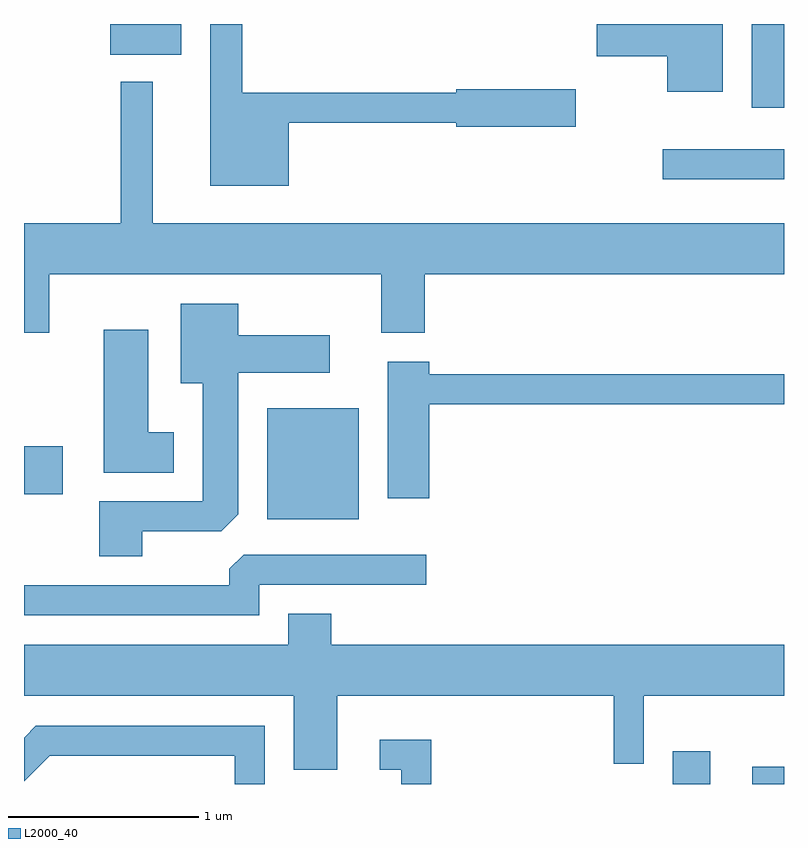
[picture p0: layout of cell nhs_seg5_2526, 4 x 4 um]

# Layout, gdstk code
import gdstk
lib = gdstk.Library(unit=1e-6, precision=1e-09)
def R(c, l, rs):  # rectangles x0, y0, x1, y1
    for r in rs: c.add(gdstk.rectangle(r[:2], r[2:], *l))
def P(c, l, *ps):  # polygons
    for p in ps: c.add(gdstk.Polygon(p, *l))
L2000_40 = (2000, 40)

nhs_seg5_2526 = lib.new_cell('nhs_seg5_2526')
R(nhs_seg5_2526, L2000_40, [(263.026,1494.072,263.224,1494.244), (263.443,1494.072,263.611,1494.164), (260.891,1495.466,261.374,1496.049), (259.611,1495.596,259.814,1495.849), (262.973,1497.256,263.611,1497.414), (263.441,1497.631,263.611,1498.072), (260.066,1497.911,260.439,1498.072)])
P(nhs_seg5_2526, L2000_40, [(263.289,1498.072),(262.626,1498.072),(262.626,1497.901),(262.996,1497.901),(262.996,1497.716),(263.289,1497.716)],
  [(261.004,1497.551),(261.886,1497.551),(261.886,1497.531),(262.514,1497.531),(262.514,1497.729),(261.886,1497.729),(261.886,1497.709),(260.759,1497.709),(260.759,1498.072),(260.591,1498.072),(260.591,1497.221),(261.004,1497.221)],
  [(259.744,1496.756),(261.491,1496.756),(261.491,1496.446),(261.719,1496.446),(261.719,1496.756),(263.611,1496.756),(263.611,1497.024),(260.289,1497.024),(260.289,1497.768),(260.121,1497.768),(260.121,1497.024),(259.611,1497.024),(259.611,1496.446),(259.744,1496.446)],
  [(260.234,1495.401),(260.649,1495.401),(260.739,1495.492),(260.739,1496.236),(261.219,1496.236),(261.219,1496.434),(260.739,1496.434),(260.739,1496.599),(260.436,1496.599),(260.436,1496.181),(260.551,1496.181),(260.551,1495.559),(260.006,1495.559),(260.006,1495.271),(260.234,1495.271)],
  [(260.399,1495.924),(260.264,1495.924),(260.264,1496.464),(260.031,1496.464),(260.031,1495.711),(260.399,1495.711)],
  [(261.744,1496.071),(263.611,1496.071),(263.611,1496.229),(261.744,1496.229),(261.744,1496.294),(261.526,1496.294),(261.526,1495.576),(261.744,1495.576)],
  [(260.849,1495.121),(261.728,1495.121),(261.728,1495.279),(260.767,1495.279),(260.691,1495.204),(260.691,1495.119),(259.611,1495.119),(259.611,1494.961),(260.849,1494.961)],
  [(261.259,1494.536),(262.716,1494.536),(262.716,1494.178),(262.874,1494.178),(262.874,1494.536),(263.611,1494.536),(263.611,1494.804),(261.229,1494.804),(261.229,1494.969),(261.001,1494.969),(261.001,1494.804),(259.611,1494.804),(259.611,1494.536),(261.031,1494.536),(261.031,1494.146),(261.259,1494.146)],
  [(260.879,1494.379),(259.674,1494.379),(259.611,1494.316),(259.611,1494.086),(259.747,1494.221),(260.721,1494.221),(260.721,1494.072),(260.879,1494.072)],
  [(261.754,1494.304),(261.483,1494.304),(261.483,1494.146),(261.596,1494.146),(261.596,1494.072),(261.754,1494.072)])

lib.write_gds('nhs_seg5_2526.gds')
